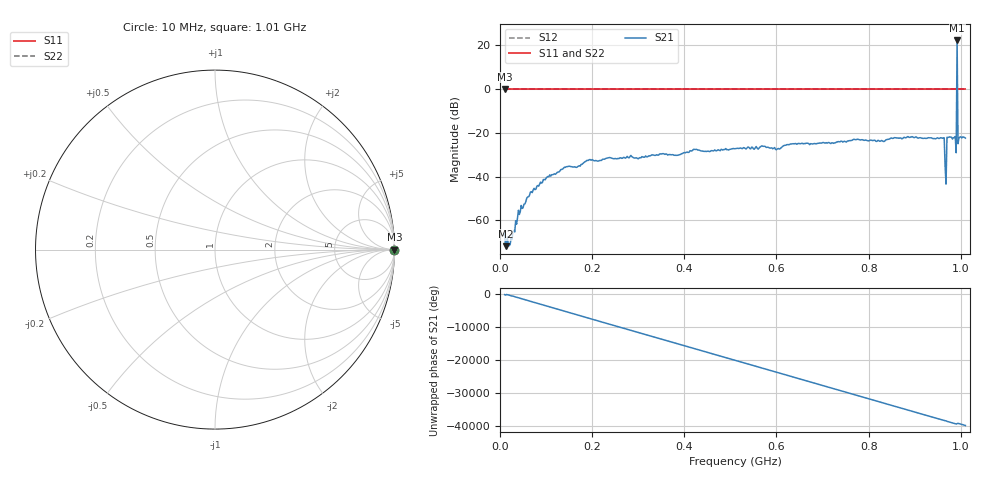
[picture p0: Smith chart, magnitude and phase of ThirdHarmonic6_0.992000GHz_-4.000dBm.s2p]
! 8/16/2025 7:51:51 AM
! C:\ANRITSUVNA\TEMP\TEMP.S2P
! CHANNEL.1
! TR.MEASUREMENT
! RAW.DATA
! RF.CORRECTION.OFF
! AVERAGING.OFF
! IF.BANDWIDTH: 5KHZ
! SWEEPTYPE:  FREQ.SWEEP(Linear)
! Reference Plane Port Info
! PORT:  PORT1  PORT2
! DISTANCE:  0  m  0  m
! TIME:  0  s  0  s
! PHASE.OFFSET:  0  deg.  0  deg.
! LOSS:  0  dB  0  dB
! REF.LOSS:  0  dB  0  dB
! REF.FREQ:  0  Hz  0  Hz
! Power Info
! POWER:  -20  dBm  -20  dBm
! EFF.POWER:  -20  dBm  -20  dBm
! SOURCE.ATTEN:  0  dB  0  dB
! TEST.ATTEN:  0  dB  0  dB
# GHZ S RI R 50.0
! FREQ.GHZ  S11RE  S11IM  S21RE  S21IM  S12RE  S12IM  S22RE  S22IM
!; PortSelection: Port_12
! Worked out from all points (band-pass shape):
!   501 points, 10 MHz to 1.01 GHz, reference 50 ohm
!   highest |S21| = 22.14 dB at 992 MHz (marker M1); lowest = -71.8 dB at 12 MHz (marker M2)
!   |S21| within 3 dB of the highest: 991.883 MHz to 992.1273 MHz (244.3 kHz wide, 0.0246 % of centre)
!   lowest |S11| = 0.0 dB at 10 MHz (marker M3)
!   |S11| at or under -10 dB: nowhere
!   |S22| runs from 0.0 to 0.0 dB; largest |S21 - S12| = 12
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0.01  1 0  -3.1e-06 -0.000505  1 0  1 0
0.012  1 0  -0.000169 0.000195  1 0  1 0
0.016  1 0  -0.000178 -0.000381  1 0  1 0
0.022  1 0  0.000241 0.000147  1 0  1 0
0.042  1 0  0.000984 -0.000945  1 0  1 0
0.07  1 0  -0.00137 -0.00409  1 0  1 0
0.136  1 0  0.000174 0.0149  1 0  1 0
0.178  1 0  -0.0184 -0.00494  1 0  1 0
0.344  1 0  0.0304 -0.00511  1 0  1 0
0.51  1 0  -0.0417 0.0116  1 0  1 0
0.678  1 0  -0.0169 -0.0529  1 0  1 0
0.844  1 0  0.0393 0.0596  1 0  1 0
0.96  1 0  0.0333 0.067  1 0  1 0
0.964  1 0  -0.0109 -0.0757  1 0  1 0
0.97  1 0  0.0749 0.0241  1 0  1 0
0.974  1 0  -0.0603 -0.0511  1 0  1 0
0.986  1 0  -0.00979 0.0769  1 0  1 0
0.988  1 0  0.0786 0.0239  1 0  1 0
0.992  1 0  8.709 9.382  1 0  1 0
0.996  1 0  0.0454 0.0611  1 0  1 0
0.998  1 0  0.0715 -0.0354  1 0  1 0
1.01  1 0  -0.0684 -0.0322  1 0  1 0
